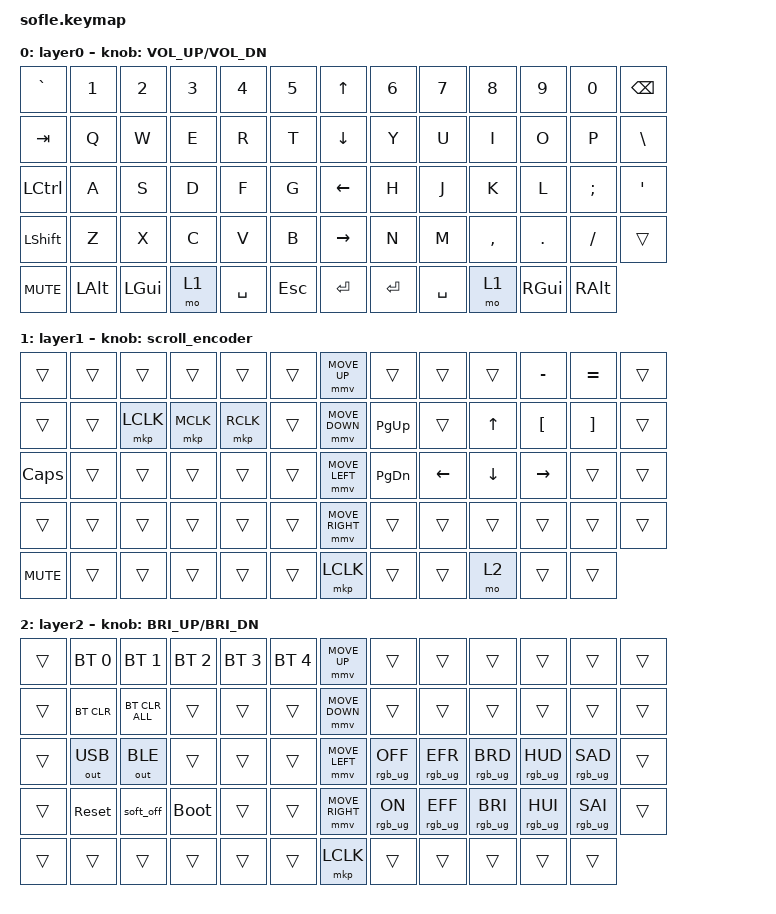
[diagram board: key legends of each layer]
#include <behaviors/mouse_keys.dtsi>
#include <dt-bindings/zmk/mouse.h>
#include <behaviors.dtsi>
#include <dt-bindings/zmk/bt.h>
#include <dt-bindings/zmk/keys.h>
#include <dt-bindings/zmk/outputs.h>
#include <dt-bindings/zmk/rgb.h>

#define ZMK_MOUSE_DEFAULT_MOVE_VAL 1200  // 600
#define ZMK_MOUSE_DEFAULT_SCRL_VAL 20    // 10
#define U_MS_U &mmv MOVE_UP
#define U_MS_D &mmv MOVE_DOWN
#define U_MS_L &mmv MOVE_LEFT
#define U_MS_R &mmv MOVE_RIGHT
#define ZMK_MOUSE_DEFAULT_MOVE_VAL 1200  //  600
#define ZMK_MOUSE_DEFAULT_SCRL_VAL 20    // 10

/ {
    behaviors {
        mmv {
            acceleration-exponent = <1>;      // 1
            time-to-max-speed-ms = <900>;    // 40
            delay-ms = <0>;                   // 0
        };

        msc {
            acceleration-exponent = <1>;      // 0
            time-to-max-speed-ms = <400>;      // 500
            delay-ms = <0>;                   //   10
        };
    };

    scroll_encoder: scroll_encoder {
        compatible = "zmk,behavior-sensor-rotate";
        #sensor-binding-cells = <0>;
        bindings = <&msc SCRL_DOWN>, <&msc SCRL_UP>;

        tap-ms = <30>;
    };

    keymap {
        compatible = "zmk,keymap";

        layer0 {
            bindings = <
&kp GRAVE   &kp N1    &kp N2    &kp N3  &kp N4     &kp N5        &kp UP_ARROW     &kp N6     &kp N7     &kp N8     &kp N9    &kp N0    &kp BACKSPACE
&kp TAB     &kp Q     &kp W     &kp E   &kp R      &kp T         &kp DOWN_ARROW   &kp Y      &kp U      &kp I      &kp O     &kp P     &kp BSLH
&kp LCTRL   &kp A     &kp S     &kp D   &kp F      &kp G         &kp LEFT_ARROW   &kp H      &kp J      &kp K      &kp L     &kp SEMI  &kp APOS
&kp LSHIFT  &kp Z     &kp X     &kp C   &kp V      &kp B         &kp RIGHT_ARROW  &kp N      &kp M      &kp COMMA  &kp DOT   &kp FSLH  &trans
&kp C_MUTE  &kp LALT  &kp LGUI  &mo 1   &kp SPACE  &kp ESCAPE    &kp ENTER        &kp ENTER  &kp SPACE  &mo 1      &kp RGUI  &kp RALT
            >;

            sensor-bindings = <&inc_dec_kp C_VOLUME_UP C_VOL_DN>;
            display-name = "layer0";
        };

        layer1 {
            bindings = <
&trans      &trans  &trans     &trans     &trans     &trans    &mmv MOVE_UP     &trans     &trans          &trans    &kp MINUS  &kp EQUAL  &trans
&trans      &trans  &mkp LCLK  &mkp MCLK  &mkp RCLK  &trans    &mmv MOVE_DOWN   &kp PG_UP  &trans          &kp UP    &kp LBKT   &kp RBKT   &trans
&kp CAPS    &trans  &trans     &trans     &trans     &trans    &mmv MOVE_LEFT   &kp PG_DN  &kp LEFT_ARROW  &kp DOWN  &kp RIGHT  &trans     &trans
&trans      &trans  &trans     &trans     &trans     &trans    &mmv MOVE_RIGHT  &trans     &trans          &trans    &trans     &trans     &trans
&kp C_MUTE  &trans  &trans     &trans     &trans     &trans    &mkp LCLK        &trans     &trans          &mo 2     &trans     &trans
            >;

            display-name = "layer1";
            sensor-bindings = <&scroll_encoder>;
        };

        layer2 {
            bindings = <
&trans  &bt BT_SEL 0  &bt BT_SEL 1    &bt BT_SEL 2  &bt BT_SEL 3  &bt BT_SEL 4    &mmv MOVE_UP     &trans           &trans           &trans           &trans           &trans           &trans
&trans  &bt BT_CLR    &bt BT_CLR_ALL  &trans        &trans        &trans          &mmv MOVE_DOWN   &trans           &trans           &trans           &trans           &trans           &trans
&trans  &out OUT_USB  &out OUT_BLE    &trans        &trans        &trans          &mmv MOVE_LEFT   &rgb_ug RGB_OFF  &rgb_ug RGB_EFR  &rgb_ug RGB_BRD  &rgb_ug RGB_HUD  &rgb_ug RGB_SAD  &trans
&trans  &sys_reset    &soft_off       &bootloader   &trans        &trans          &mmv MOVE_RIGHT  &rgb_ug RGB_ON   &rgb_ug RGB_EFF  &rgb_ug RGB_BRI  &rgb_ug RGB_HUI  &rgb_ug RGB_SAI  &trans
&trans  &trans        &trans          &trans        &trans        &trans          &mkp LCLK        &trans           &trans           &trans           &trans           &trans
            >;

            sensor-bindings = <&inc_dec_kp C_BRI_UP C_BRI_DN>;
            label = "layer2";
        };
    };
};
